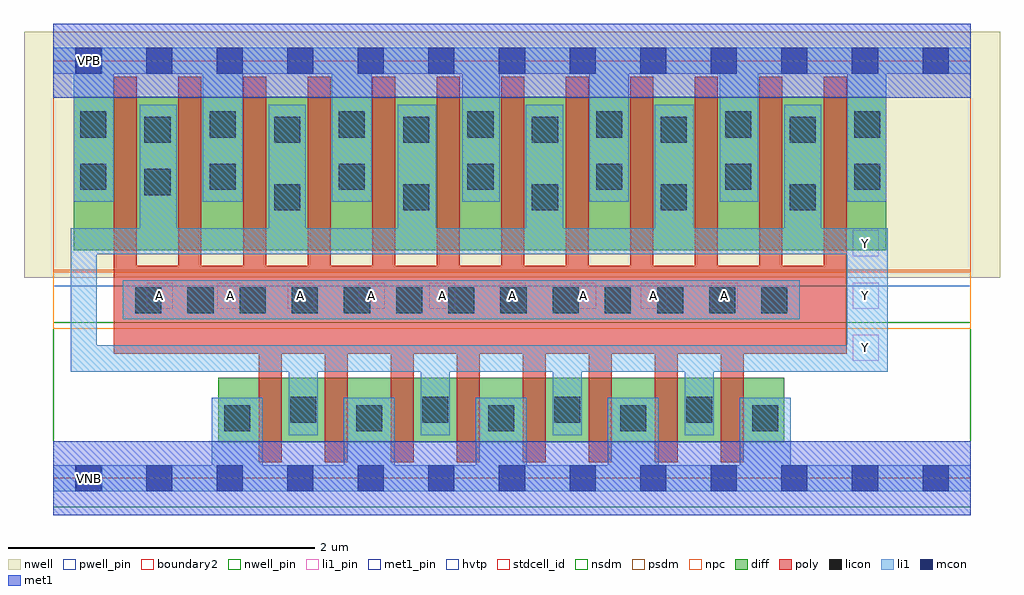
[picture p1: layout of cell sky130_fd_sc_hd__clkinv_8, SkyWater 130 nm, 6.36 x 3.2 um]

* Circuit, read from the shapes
.subckt sky130_fd_sc_hd__clkinv_8 A VGND VNB VPB VPWR Y
XM1 Y A VGND VNB sky130_fd_pr__nfet_01v8 w=0.42 l=0.15 m=8
XM2 Y A VPWR VPB sky130_fd_pr__pfet_01v8_hvt w=1 l=0.15 m=12
.ends

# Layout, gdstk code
import gdstk
lib = gdstk.Library(unit=1e-6, precision=1e-09)
def R(c, l, rs):  # rectangles x0, y0, x1, y1
    for r in rs: c.add(gdstk.rectangle(r[:2], r[2:], *l))
def A(c, l, x, y, w, h, nx, ny, dx, dy):  # array of equal rectangles
    R(c, l, [(x+i*dx, y+j*dy, x+i*dx+w, y+j*dy+h) for i in range(nx) for j in range(ny)])
def P(c, l, *ps):  # polygons
    for p in ps: c.add(gdstk.Polygon(p, *l))
nwell_pin = (64, 16)
nwell = (64, 20)
diff = (65, 20)
poly = (66, 20)
licon = (66, 44)
li1_pin = (67, 16)
li1 = (67, 20)
mcon = (67, 44)
met1_pin = (68, 16)
met1 = (68, 20)
hvtp = (78, 44)
stdcell_id = (81, 4)
nsdm = (93, 44)
psdm = (94, 20)
npc = (95, 20)
pwell_pin = (122, 16)
boundary2 = (236, 0)

sky130_fd_sc_hd__clkinv_ = lib.new_cell('sky130_fd_sc_hd__clkinv_8')
R(sky130_fd_sc_hd__clkinv_, nwell_pin, [(0.15,2.635,0.32,2.805)])
R(sky130_fd_sc_hd__clkinv_, nwell, [(-0.19,1.305,6.17,2.91)])
R(sky130_fd_sc_hd__clkinv_, diff, [(1.075,0.235,4.765,0.655), (0.135,1.485,5.43,2.485)])
P(sky130_fd_sc_hd__clkinv_, poly, [(5.17,2.615),(5.02,2.615),(5.02,1.385),(4.75,1.385),(4.75,2.615),(4.6,2.615),(4.6,1.385),(4.33,1.385),(4.33,2.615),(4.18,2.615),(4.18,1.385),(3.91,1.385),(3.91,2.615),(3.76,2.615),(3.76,1.385),(3.49,1.385),(3.49,2.615),(3.34,2.615),(3.34,1.385),(3.07,1.385),(3.07,2.615),(2.92,2.615),(2.92,1.385),(2.65,1.385),(2.65,2.615),(2.5,2.615),(2.5,1.385),(2.23,1.385),(2.23,2.615),(2.08,2.615),(2.08,1.385),(1.81,1.385),(1.81,2.615),(1.66,2.615),(1.66,1.385),(1.39,1.385),(1.39,2.615),(1.24,2.615),(1.24,1.385),(0.965,1.385),(0.965,2.615),(0.815,2.615),(0.815,1.385),(0.545,1.385),(0.545,2.615),(0.395,2.615),(0.395,0.81),(1.34,0.81),(1.34,0.105),(1.49,0.105),(1.49,0.81),(1.77,0.81),(1.77,0.105),(1.92,0.105),(1.92,0.81),(2.2,0.81),(2.2,0.105),(2.35,0.105),(2.35,0.81),(2.63,0.81),(2.63,0.105),(2.78,0.105),(2.78,0.81),(3.06,0.81),(3.06,0.105),(3.21,0.105),(3.21,0.81),(3.49,0.81),(3.49,0.105),(3.64,0.105),(3.64,0.81),(3.92,0.81),(3.92,0.105),(4.07,0.105),(4.07,0.81),(4.35,0.81),(4.35,0.105),(4.5,0.105),(4.5,0.81),(5.17,0.81)])
A(sky130_fd_sc_hd__clkinv_, licon, 1.115, 0.305, 0.17, 0.17, 5, 1, 0.86, 0)
A(sky130_fd_sc_hd__clkinv_, licon, 1.545, 0.36, 0.17, 0.17, 4, 1, 0.86, 0)
A(sky130_fd_sc_hd__clkinv_, licon, 0.535, 1.075, 0.17, 0.17, 13, 1, 0.34, 0)
A(sky130_fd_sc_hd__clkinv_, licon, 1.44, 1.745, 0.17, 0.17, 5, 2, 0.84, 0.44)
A(sky130_fd_sc_hd__clkinv_, licon, 1.02, 1.88, 0.17, 0.17, 6, 2, 0.84, 0.34)
R(sky130_fd_sc_hd__clkinv_, licon, [(0.595,1.845,0.765,2.015), (0.175,1.88,0.345,2.05), (0.595,2.185,0.765,2.355), (0.175,2.22,0.345,2.39)])
A(sky130_fd_sc_hd__clkinv_, li1_pin, 5.21, 0.765, 0.17, 0.17, 1, 3, 0, 0.34)
A(sky130_fd_sc_hd__clkinv_, li1_pin, 0.61, 1.105, 0.17, 0.17, 9, 1, 0.46, 0)
R(sky130_fd_sc_hd__clkinv_, li1, [(0.455,1.035,4.865,1.29)])
P(sky130_fd_sc_hd__clkinv_, li1, [(5.98,2.805),(0,2.805),(0,2.635),(0.135,2.635),(0.135,1.8),(0.395,1.8),(0.395,2.635),(0.975,2.635),(0.975,1.8),(1.235,1.8),(1.235,2.635),(1.815,2.635),(1.815,1.8),(2.075,1.8),(2.075,2.635),(2.665,2.635),(2.665,1.8),(2.91,1.8),(2.91,2.635),(3.495,2.635),(3.495,1.8),(3.75,1.8),(3.75,2.635),(4.345,2.635),(4.345,1.8),(4.595,1.8),(4.595,2.635),(5.175,2.635),(5.175,1.8),(5.43,1.8),(5.43,2.635),(5.98,2.635)],
  [(5.98,0.085),(4.805,0.085),(4.805,0.525),(4.475,0.525),(4.475,0.085),(3.945,0.085),(3.945,0.525),(3.615,0.525),(3.615,0.085),(3.085,0.085),(3.085,0.525),(2.755,0.525),(2.755,0.085),(2.225,0.085),(2.225,0.525),(1.895,0.525),(1.895,0.085),(1.365,0.085),(1.365,0.525),(1.035,0.525),(1.035,0.085),(0,0.085),(0,-0.085),(5.98,-0.085)],
  [(5.44,1.63),(5.17,1.63),(5.17,0.865),(0.285,0.865),(0.285,1.46),(5.17,1.46),(5.17,1.63),(5.005,1.63),(5.005,2.435),(4.765,2.435),(4.765,1.63),(4.175,1.63),(4.175,2.435),(3.92,2.435),(3.92,1.63),(3.325,1.63),(3.325,2.435),(3.08,2.435),(3.08,1.63),(2.495,1.63),(2.495,2.435),(2.245,2.435),(2.245,1.63),(1.645,1.63),(1.645,2.435),(1.405,2.435),(1.405,1.63),(0.805,1.63),(0.805,2.435),(0.565,2.435),(0.565,1.63),(0.115,1.63),(0.115,0.695),(1.535,0.695),(1.535,0.28),(1.725,0.28),(1.725,0.695),(2.395,0.695),(2.395,0.28),(2.585,0.28),(2.585,0.695),(3.255,0.695),(3.255,0.28),(3.445,0.28),(3.445,0.695),(4.115,0.695),(4.115,0.28),(4.305,0.28),(4.305,0.695),(5.44,0.695)])
A(sky130_fd_sc_hd__clkinv_, mcon, 0.145, -0.085, 0.17, 0.17, 13, 2, 0.46, 2.72)
R(sky130_fd_sc_hd__clkinv_, met1_pin, [(0.15,-0.085,0.32,0.085), (0.15,2.635,0.32,2.805)])
R(sky130_fd_sc_hd__clkinv_, hvtp, [(0,1.25,5.98,2.72)])
R(sky130_fd_sc_hd__clkinv_, stdcell_id, [(0,0,5.98,2.72)])
R(sky130_fd_sc_hd__clkinv_, nsdm, [(0,-0.19,5.98,1.015)])
R(sky130_fd_sc_hd__clkinv_, psdm, [(0,1.355,5.98,2.91)])
R(sky130_fd_sc_hd__clkinv_, npc, [(0,0.975,5.98,1.345)])
R(sky130_fd_sc_hd__clkinv_, pwell_pin, [(0.15,-0.085,0.32,0.085)])
R(sky130_fd_sc_hd__clkinv_, boundary2, [(0,0,5.98,2.72)])
sky130_fd_sc_hd__clkinv_.add(gdstk.FlexPath([(0,2.72),(5.98,2.72)], 0.48, ends="flush", simple_path=True, layer=68, datatype=20))  # met1
sky130_fd_sc_hd__clkinv_.add(gdstk.FlexPath([(0,0),(5.98,0)], 0.48, ends="flush", simple_path=True, layer=68, datatype=20))  # met1
sky130_fd_sc_hd__clkinv_.add(gdstk.Label('Y', (5.295,1.53), layer=67, texttype=5))
sky130_fd_sc_hd__clkinv_.add(gdstk.Label('Y', (5.295,1.19), layer=67, texttype=5))
sky130_fd_sc_hd__clkinv_.add(gdstk.Label('Y', (5.295,0.85), layer=67, texttype=5))
sky130_fd_sc_hd__clkinv_.add(gdstk.Label('A', (2.535,1.19), layer=67, texttype=5))
sky130_fd_sc_hd__clkinv_.add(gdstk.Label('A', (2.075,1.19), layer=67, texttype=5))
sky130_fd_sc_hd__clkinv_.add(gdstk.Label('A', (1.615,1.19), layer=67, texttype=5))
sky130_fd_sc_hd__clkinv_.add(gdstk.Label('A', (1.155,1.19), layer=67, texttype=5))
sky130_fd_sc_hd__clkinv_.add(gdstk.Label('A', (4.375,1.19), layer=67, texttype=5))
sky130_fd_sc_hd__clkinv_.add(gdstk.Label('A', (3.915,1.19), layer=67, texttype=5))
sky130_fd_sc_hd__clkinv_.add(gdstk.Label('A', (3.455,1.19), layer=67, texttype=5))
sky130_fd_sc_hd__clkinv_.add(gdstk.Label('A', (2.995,1.19), layer=67, texttype=5))
sky130_fd_sc_hd__clkinv_.add(gdstk.Label('A', (0.695,1.19), layer=67, texttype=5))
sky130_fd_sc_hd__clkinv_.add(gdstk.Label('VNB', (0.235,0), layer=64, texttype=59))
sky130_fd_sc_hd__clkinv_.add(gdstk.Label('VPB', (0.235,2.72), layer=64, texttype=5))
sky130_fd_sc_hd__clkinv_.add(gdstk.Label('VGND', (0.23,0), layer=68, texttype=5))
sky130_fd_sc_hd__clkinv_.add(gdstk.Label('VPWR', (0.23,2.72), layer=68, texttype=5))
sky130_fd_sc_hd__clkinv_.add(gdstk.Label('clkinv_8', (0,0), layer=83, texttype=44))

lib.write_gds('sky130_fd_sc_hd__clkinv_8.gds')
